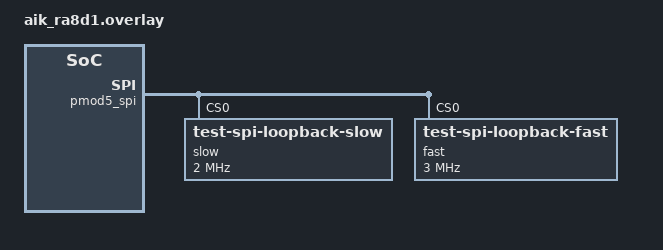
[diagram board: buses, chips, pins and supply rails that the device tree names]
/*
 * Copyright (c) 2026 Renesas Electronics Corporation
 *
 * SPDX-License-Identifier: Apache-2.0
 */

&pmod5_spi {
	status = "okay";

	slow@0 {
		compatible = "test-spi-loopback-slow";
		reg = <0>;
		spi-max-frequency = <2000000>;
	};

	fast@0 {
		compatible = "test-spi-loopback-fast";
		reg = <0>;
		spi-max-frequency = <3000000>;
	};
};
